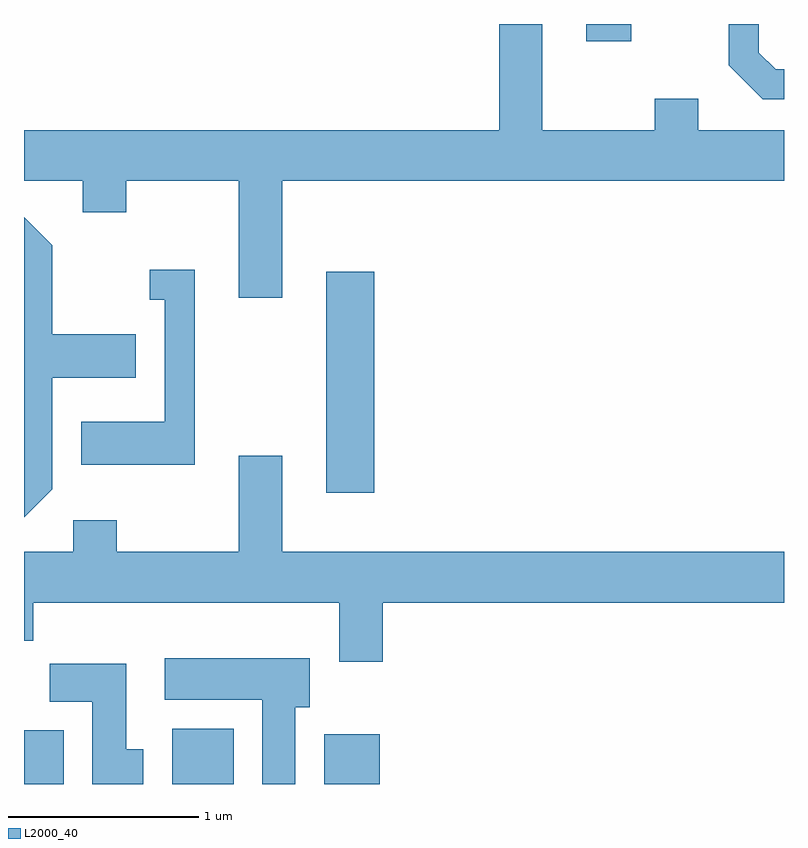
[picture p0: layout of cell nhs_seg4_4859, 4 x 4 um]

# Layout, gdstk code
import gdstk
lib = gdstk.Library(unit=1e-6, precision=1e-09)
def R(c, l, rs):  # rectangles x0, y0, x1, y1
    for r in rs: c.add(gdstk.rectangle(r[:2], r[2:], *l))
def P(c, l, *ps):  # polygons
    for p in ps: c.add(gdstk.Polygon(p, *l))
L2000_40 = (2000, 40)

nhs_seg4_4859 = lib.new_cell('nhs_seg4_4859')
R(nhs_seg4_4859, L2000_40, [(327.611,1315.982,327.819,1316.264), (328.391,1315.982,328.714,1316.274), (329.191,1315.982,329.484,1316.244), (329.201,1317.516,329.454,1318.679), (330.571,1319.891,330.808,1319.982)])
P(nhs_seg4_4859, L2000_40, [(327.611,1319.156),(327.921,1319.156),(327.921,1318.991),(328.149,1318.991),(328.149,1319.156),(328.741,1319.156),(328.741,1318.541),(328.969,1318.541),(328.969,1319.156),(331.611,1319.156),(331.611,1319.424),(331.159,1319.424),(331.159,1319.589),(330.931,1319.589),(330.931,1319.424),(330.339,1319.424),(330.339,1319.982),(330.111,1319.982),(330.111,1319.424),(327.611,1319.424)],
  [(331.611,1319.744),(331.567,1319.744),(331.479,1319.832),(331.479,1319.982),(331.321,1319.982),(331.321,1319.764),(331.499,1319.586),(331.611,1319.586)],
  [(327.759,1317.534),(327.759,1318.121),(328.199,1318.121),(328.199,1318.349),(327.759,1318.349),(327.759,1318.817),(327.611,1318.965),(327.611,1317.385)],
  [(328.509,1318.689),(328.273,1318.689),(328.273,1318.531),(328.351,1318.531),(328.351,1317.889),(327.911,1317.889),(327.911,1317.661),(328.509,1317.661)],
  [(329.499,1316.936),(331.611,1316.936),(331.611,1317.204),(328.969,1317.204),(328.969,1317.709),(328.741,1317.709),(328.741,1317.204),(328.099,1317.204),(328.099,1317.369),(327.871,1317.369),(327.871,1317.204),(327.611,1317.204),(327.611,1316.736),(327.659,1316.736),(327.659,1316.936),(329.271,1316.936),(329.271,1316.626),(329.499,1316.626)],
  [(329.039,1316.386),(329.114,1316.386),(329.114,1316.644),(328.351,1316.644),(328.351,1316.426),(328.866,1316.426),(328.866,1315.982),(329.039,1315.982)],
  [(328.239,1316.164),(328.149,1316.164),(328.149,1316.614),(327.746,1316.614),(327.746,1316.416),(327.971,1316.416),(327.971,1315.982),(328.239,1315.982)])

lib.write_gds('nhs_seg4_4859.gds')
